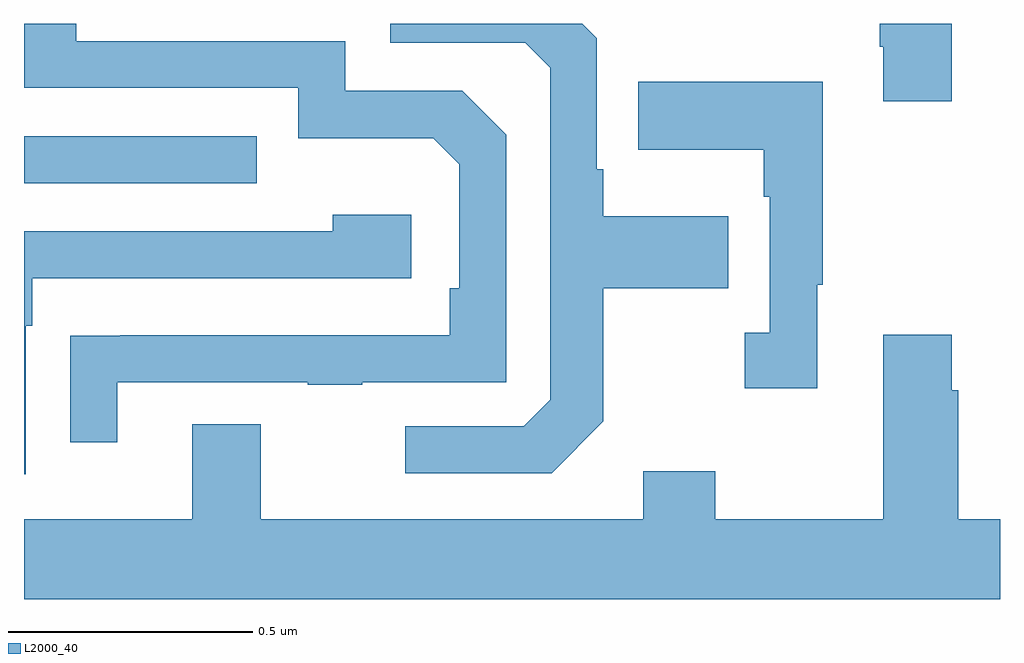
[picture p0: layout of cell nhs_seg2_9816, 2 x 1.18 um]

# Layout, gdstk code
import gdstk
lib = gdstk.Library(unit=1e-6, precision=1e-09)
def R(c, l, rs):  # rectangles x0, y0, x1, y1
    for r in rs: c.add(gdstk.rectangle(r[:2], r[2:], *l))
def P(c, l, *ps):  # polygons
    for p in ps: c.add(gdstk.Polygon(p, *l))
L2000_40 = (2000, 40)

nhs_seg2_9816 = lib.new_cell('nhs_seg2_9816')
R(nhs_seg2_9816, L2000_40, [(233,664.473,233.477,664.569)])
P(nhs_seg2_9816, L2000_40, [(234.901,664.8),(234.754,664.8),(234.754,664.753),(234.761,664.753),(234.761,664.641),(234.901,664.641)],
  [(233.191,664.065),(233.581,664.065),(233.581,664.06),(233.693,664.06),(233.693,664.065),(233.988,664.065),(233.988,664.572),(233.898,664.662),(233.658,664.662),(233.658,664.764),(233.107,664.764),(233.107,664.8),(233,664.8),(233,664.668),(233.562,664.668),(233.562,664.565),(233.839,664.565),(233.892,664.512),(233.892,664.258),(233.872,664.258),(233.872,664.161),(233.197,664.161),(233.197,664.16),(233.095,664.16),(233.095,663.942),(233.191,663.942)],
  [(234.187,663.985),(234.187,664.258),(234.443,664.258),(234.443,664.405),(234.187,664.405),(234.187,664.501),(234.174,664.501),(234.174,664.77),(234.144,664.8),(233.751,664.8),(233.751,664.761),(234.027,664.761),(234.078,664.71),(234.078,664.029),(234.024,663.975),(233.781,663.975),(233.781,663.879),(234.081,663.879)],
  [(234.625,664.265),(234.637,664.265),(234.637,664.681),(234.259,664.681),(234.259,664.541),(234.516,664.541),(234.516,664.445),(234.528,664.445),(234.528,664.166),(234.477,664.166),(234.477,664.053),(234.625,664.053)],
  [(233.004,664.181),(233.017,664.181),(233.017,664.278),(233.794,664.278),(233.794,664.408),(233.633,664.408),(233.633,664.374),(233,664.374),(233,663.876),(233.004,663.876)],
  [(235,663.784),(234.914,663.784),(234.914,664.049),(234.901,664.049),(234.901,664.162),(234.761,664.162),(234.761,663.784),(234.417,663.784),(234.417,663.883),(234.269,663.883),(234.269,663.784),(233.485,663.784),(233.485,663.979),(233.345,663.979),(233.345,663.784),(233,663.784),(233,663.62),(235,663.62)])

lib.write_gds('nhs_seg2_9816.gds')
